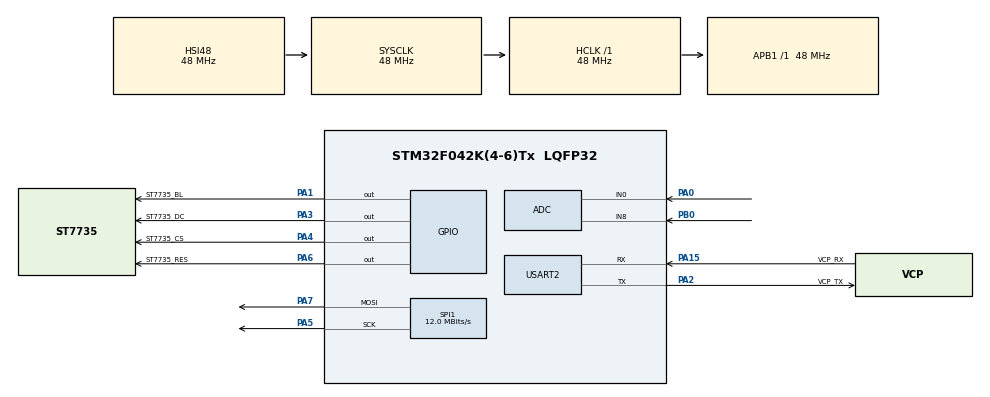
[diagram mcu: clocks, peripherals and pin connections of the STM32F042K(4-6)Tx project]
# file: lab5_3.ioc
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Mcu.Family=STM32F0
Mcu.Name=STM32F042K(4-6)Tx
Mcu.Package=LQFP32
PA0.Mode=IN0
PA0.Signal=ADC_IN0
PA1.GPIO_Label=ST7735_BL
PA1.Signal=GPIO_Output
PA13.GPIO_Label=SWDIO
PA13.Mode=Serial_Wire
PA13.Signal=SYS_SWDIO
PA14.GPIO_Label=SWCLK
PA14.Mode=Serial_Wire
PA14.Signal=SYS_SWCLK
PA15.GPIO_Label=VCP_RX
PA15.Mode=Asynchronous
PA15.Signal=USART2_RX
PA2.GPIO_Label=VCP_TX
PA2.Mode=Asynchronous
PA2.Signal=USART2_TX
PA3.GPIO_Label=ST7735_DC
PA3.Signal=GPIO_Output
PA4.GPIO_Label=ST7735_CS
PA4.Signal=GPIO_Output
PA5.Mode=TX_Only_Simplex_Unidirect_Master
PA5.Signal=SPI1_SCK
PA6.GPIO_Label=ST7735_RES
PA6.Signal=GPIO_Output
PA7.Mode=TX_Only_Simplex_Unidirect_Master
PA7.Signal=SPI1_MOSI
PB0.Mode=IN8
PB0.Signal=ADC_IN8
PF0-OSC_IN.GPIO_Label=MCO
PF0-OSC_IN.Mode=HSE-External-Clock-Source
PF0-OSC_IN.Signal=RCC_OSC_IN
ProjectManager.HeapSize=0x200
ProjectManager.StackSize=0x400
ProjectManager.TargetToolchain=STM32CubeIDE
RCC.AHBFreq_Value=48000000
RCC.APB1Freq_Value=48000000
RCC.APB1TimFreq_Value=48000000
RCC.HCLKFreq_Value=48000000
RCC.SYSCLKFreq_VALUE=48000000
RCC.SYSCLKSource=RCC_SYSCLKSOURCE_HSI48
SPI1.BaudRatePrescaler=SPI_BAUDRATEPRESCALER_4
SPI1.CalculateBaudRate=12.0 MBits/s
SPI1.DataSize=SPI_DATASIZE_8BIT
SPI1.Direction=SPI_DIRECTION_2LINES
SPI1.Mode=SPI_MODE_MASTER
SPI1.VirtualType=VM_MASTER
USART2.VirtualMode-Asynchronous=VM_ASYNC
board=NUCLEO-F042K6

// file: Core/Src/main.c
/* USER CODE BEGIN Header */
/**
  ******************************************************************************
  * @file           : main.c
  * @brief          : Main program body
  ******************************************************************************
  * @attention
  *
  * Copyright (c) 2025 STMicroelectronics.
  * All rights reserved.
  *
  * This software is licensed under terms that can be found in the LICENSE file
  * in the root directory of this software component.
  * If no LICENSE file comes with this software, it is provided AS-IS.
  *
  ******************************************************************************
  */
/* USER CODE END Header */
#include "main.h"
#include "st7735.h"
#include "stdio.h"

ADC_HandleTypeDef hadc;

SPI_HandleTypeDef hspi1;

UART_HandleTypeDef huart2;

void SystemClock_Config(void);
static void MX_GPIO_Init(void);
static void MX_USART2_UART_Init(void);
static void MX_SPI1_Init(void);
static void MX_ADC_Init(void);
/* USER CODE BEGIN PFP */
void ADC_Enable_Channel (uint32_t channel);
void ADC_Disable_Channel (uint32_t channel);
/* USER CODE END PFP */

int main(void)
{

  /* USER CODE BEGIN 1 */
	char ADC_Result_String[16];
	int16_t ADC_Result = 0;
  /* USER CODE END 1 */

  /* MCU Configuration--------------------------------------------------------*/

  /* Reset of all peripherals, Initializes the Flash interface and the Systick. */
  HAL_Init();

  /* Configure the system clock */
  SystemClock_Config();

  /* Initialize all configured peripherals */
  MX_GPIO_Init();
  MX_USART2_UART_Init();
  MX_SPI1_Init();
  MX_ADC_Init();
  /* USER CODE BEGIN 2 */
  // Calibrate ADC for better accuracy
   HAL_ADCEx_Calibration_Start(&hadc);
   // Initialise and setup LCD
   ST7735_Init();
   ST7735_Backlight_On();
   ST7735_FillScreen(ST7735_WHITE);
   ST7735_DrawString(0, 0, "ADC TEST", Font_7x10, ST7735_BLACK, ST7735_WHITE);
   ST7735_DrawString(0, 20, "Chan 0 Val: ", Font_7x10, ST7735_BLACK, ST7735_WHITE);
   ST7735_DrawString(0, 40, "Chan 8 Val: ", Font_7x10, ST7735_BLACK, ST7735_WHITE);
  /* USER CODE END 2 */

  /* Infinite loop */
  while (1)
  {
	  ADC_Enable_Channel(ADC_CHANNEL_0);
	  ADC_Disable_Channel(ADC_CHANNEL_8);
	  HAL_ADC_Start(&hadc); // Start ADC Conversion
	  HAL_ADC_PollForConversion(&hadc, 1); // Poll ADC & set TimeOut = 1 mS
	  ADC_Result = HAL_ADC_GetValue(&hadc); // Retrieve the ADC result
	  // Format integer ADC value as a string
	  sprintf(ADC_Result_String, "%4u", ADC_Result);
	  // Print string to LCD
	  ST7735_DrawString(84, 20, ADC_Result_String, Font_7x10, ST7735_BLACK, ST7735_WHITE);
	  ADC_Enable_Channel(ADC_CHANNEL_8);
	  ADC_Disable_Channel(ADC_CHANNEL_0);
	  HAL_ADC_Start(&hadc); // Start ADC Conversion
	  HAL_ADC_PollForConversion(&hadc, 1); // Poll ADC & set TimeOut = 1 mS
	  ADC_Result = HAL_ADC_GetValue(&hadc); // Retrieve the ADC Result
	  // Format integer ADC value as a string
	  sprintf(ADC_Result_String, "%4u", ADC_Result);
	  // Print string to LCD
	  ST7735_DrawString(84, 40, ADC_Result_String, Font_7x10, ST7735_BLACK, ST7735_WHITE);
	  HAL_Delay(500); // 500 ms delay
  }
}

void SystemClock_Config(void)
{
  RCC_OscInitTypeDef RCC_OscInitStruct = {0};
  RCC_ClkInitTypeDef RCC_ClkInitStruct = {0};

  /** Initializes the RCC Oscillators according to the specified parameters
  * in the RCC_OscInitTypeDef structure.
  */
  RCC_OscInitStruct.OscillatorType = RCC_OSCILLATORTYPE_HSI14|RCC_OSCILLATORTYPE_HSI48;
  RCC_OscInitStruct.HSI48State = RCC_HSI48_ON;
  RCC_OscInitStruct.HSI14State = RCC_HSI14_ON;
  RCC_OscInitStruct.HSI14CalibrationValue = 16;
  RCC_OscInitStruct.PLL.PLLState = RCC_PLL_NONE;
  if (HAL_RCC_OscConfig(&RCC_OscInitStruct) != HAL_OK)
  {
    Error_Handler();
  }

  /** Initializes the CPU, AHB and APB buses clocks
  */
  RCC_ClkInitStruct.ClockType = RCC_CLOCKTYPE_HCLK|RCC_CLOCKTYPE_SYSCLK
                              |RCC_CLOCKTYPE_PCLK1;
  RCC_ClkInitStruct.SYSCLKSource = RCC_SYSCLKSOURCE_HSI48;
  RCC_ClkInitStruct.AHBCLKDivider = RCC_SYSCLK_DIV1;
  RCC_ClkInitStruct.APB1CLKDivider = RCC_HCLK_DIV1;

  if (HAL_RCC_ClockConfig(&RCC_ClkInitStruct, FLASH_LATENCY_1) != HAL_OK)
  {
    Error_Handler();
  }
}

static void MX_ADC_Init(void)
{

  ADC_ChannelConfTypeDef sConfig = {0};

  /** Configure the global features of the ADC (Clock, Resolution, Data Alignment and number of conversion)
  */
  hadc.Instance = ADC1;
  hadc.Init.ClockPrescaler = ADC_CLOCK_ASYNC_DIV1;
  hadc.Init.Resolution = ADC_RESOLUTION_12B;
  hadc.Init.DataAlign = ADC_DATAALIGN_RIGHT;
  hadc.Init.ScanConvMode = ADC_SCAN_DIRECTION_FORWARD;
  hadc.Init.EOCSelection = ADC_EOC_SINGLE_CONV;
  hadc.Init.LowPowerAutoWait = DISABLE;
  hadc.Init.LowPowerAutoPowerOff = DISABLE;
  hadc.Init.ContinuousConvMode = DISABLE;
  hadc.Init.DiscontinuousConvMode = DISABLE;
  hadc.Init.ExternalTrigConv = ADC_SOFTWARE_START;
  hadc.Init.ExternalTrigConvEdge = ADC_EXTERNALTRIGCONVEDGE_NONE;
  hadc.Init.DMAContinuousRequests = DISABLE;
  hadc.Init.Overrun = ADC_OVR_DATA_PRESERVED;
  if (HAL_ADC_Init(&hadc) != HAL_OK)
  {
    Error_Handler();
  }

  /** Configure for the selected ADC regular channel to be converted.
  */
  sConfig.Channel = ADC_CHANNEL_0;
  sConfig.Rank = ADC_RANK_CHANNEL_NUMBER;
  sConfig.SamplingTime = ADC_SAMPLETIME_1CYCLE_5;
  if (HAL_ADC_ConfigChannel(&hadc, &sConfig) != HAL_OK)
  {
    Error_Handler();
  }

  /** Configure for the selected ADC regular channel to be converted.
  */
  sConfig.Channel = ADC_CHANNEL_8;
  if (HAL_ADC_ConfigChannel(&hadc, &sConfig) != HAL_OK)
  {
    Error_Handler();
  }

}

static void MX_SPI1_Init(void)
{

  /* SPI1 parameter configuration*/
  hspi1.Instance = SPI1;
  hspi1.Init.Mode = SPI_MODE_MASTER;
  hspi1.Init.Direction = SPI_DIRECTION_2LINES;
  hspi1.Init.DataSize = SPI_DATASIZE_8BIT;
  hspi1.Init.CLKPolarity = SPI_POLARITY_LOW;
  hspi1.Init.CLKPhase = SPI_PHASE_1EDGE;
  hspi1.Init.NSS = SPI_NSS_SOFT;
  hspi1.Init.BaudRatePrescaler = SPI_BAUDRATEPRESCALER_4;
  hspi1.Init.FirstBit = SPI_FIRSTBIT_MSB;
  hspi1.Init.TIMode = SPI_TIMODE_DISABLE;
  hspi1.Init.CRCCalculation = SPI_CRCCALCULATION_DISABLE;
  hspi1.Init.CRCPolynomial = 7;
  hspi1.Init.CRCLength = SPI_CRC_LENGTH_DATASIZE;
  hspi1.Init.NSSPMode = SPI_NSS_PULSE_ENABLE;
  if (HAL_SPI_Init(&hspi1) != HAL_OK)
  {
    Error_Handler();
  }

}

static void MX_USART2_UART_Init(void)
{

  huart2.Instance = USART2;
  huart2.Init.BaudRate = 38400;
  huart2.Init.WordLength = UART_WORDLENGTH_8B;
  huart2.Init.StopBits = UART_STOPBITS_1;
  huart2.Init.Parity = UART_PARITY_NONE;
  huart2.Init.Mode = UART_MODE_TX_RX;
  huart2.Init.HwFlowCtl = UART_HWCONTROL_NONE;
  huart2.Init.OverSampling = UART_OVERSAMPLING_16;
  huart2.Init.OneBitSampling = UART_ONE_BIT_SAMPLE_DISABLE;
  huart2.AdvancedInit.AdvFeatureInit = UART_ADVFEATURE_NO_INIT;
  if (HAL_UART_Init(&huart2) != HAL_OK)
  {
    Error_Handler();
  }

}

static void MX_GPIO_Init(void)
{
  GPIO_InitTypeDef GPIO_InitStruct = {0};

  /* GPIO Ports Clock Enable */
  __HAL_RCC_GPIOF_CLK_ENABLE();
  __HAL_RCC_GPIOA_CLK_ENABLE();
  __HAL_RCC_GPIOB_CLK_ENABLE();

  /*Configure GPIO pin Output Level */
  HAL_GPIO_WritePin(GPIOA, ST7735_BL_Pin|ST7735_DC_Pin|ST7735_CS_Pin|ST7735_RES_Pin, GPIO_PIN_RESET);

  /*Configure GPIO pins : ST7735_BL_Pin ST7735_DC_Pin ST7735_CS_Pin ST7735_RES_Pin */
  GPIO_InitStruct.Pin = ST7735_BL_Pin|ST7735_DC_Pin|ST7735_CS_Pin|ST7735_RES_Pin;
  GPIO_InitStruct.Mode = GPIO_MODE_OUTPUT_PP;
  GPIO_InitStruct.Pull = GPIO_NOPULL;
  GPIO_InitStruct.Speed = GPIO_SPEED_FREQ_LOW;
  HAL_GPIO_Init(GPIOA, &GPIO_InitStruct);

}

/* USER CODE BEGIN 4 */
void ADC_Enable_Channel (uint32_t channel)
{
ADC_ChannelConfTypeDef sConfig = {0}; // Setup struct with channel parameters
sConfig.Channel = channel;
sConfig.Rank = ADC_RANK_CHANNEL_NUMBER;
sConfig.SamplingTime = ADC_SAMPLETIME_1CYCLE_5;
HAL_ADC_ConfigChannel ( &hadc, &sConfig); // Set up ADC channel
}
void ADC_Disable_Channel (uint32_t channel)
{
ADC_ChannelConfTypeDef sConfig = {0}; // Setup struct with channel parameters
sConfig.Channel = channel;
sConfig.Rank = ADC_RANK_NONE;
sConfig.SamplingTime = ADC_SAMPLETIME_1CYCLE_5;
HAL_ADC_ConfigChannel ( &hadc, &sConfig); // Set up ADC channel
}
/* USER CODE END 4 */

void Error_Handler(void)
{
  __disable_irq();
  while (1)
  {
  }
}
